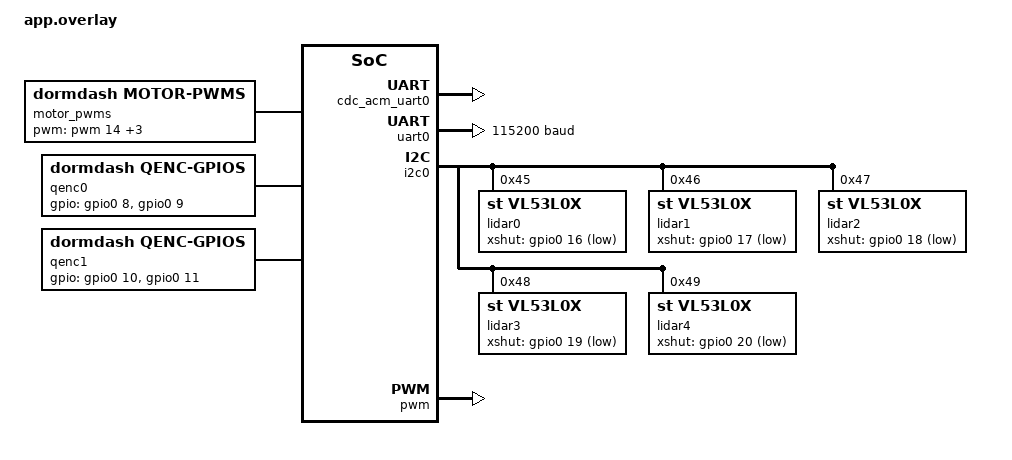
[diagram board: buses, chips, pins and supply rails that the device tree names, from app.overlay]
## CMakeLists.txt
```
# SPDX-License-Identifier: Apache-2.0

cmake_minimum_required(VERSION 3.20.0)

set(BOARD rpi_pico)

find_package(Zephyr REQUIRED HINTS $ENV{ZEPHYR_BASE})
project(dorm_dash_robot)

target_sources(app PRIVATE
	src/main.c
	src/leds.c
	src/distance_sensor.c
	src/pwm_motor.c
	src/quadrature_decoder.c
	src/motor_control.c
	src/pid.c
	src/uart_echo.c
	src/tests.c
)
```

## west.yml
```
manifest:
  
  remotes:
    - name: zephyrproject-rtos
      url-base: https://github.com/zephyrproject-rtos
  
  projects:
    - name: zephyr
      remote: zephyrproject-rtos
      import: true
      revision: v4.2.0
    - name: zenoh-pico
      url: https://github.com/eclipse-zenoh/zenoh-pico.git
      revision: 1.6.1
      path: modules/lib/zenoh-pico
```

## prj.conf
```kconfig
CONFIG_GPIO=y

CONFIG_SERIAL=y
CONFIG_CONSOLE=y
CONFIG_UART_CONSOLE=y
CONFIG_STDOUT_CONSOLE=y
CONFIG_UART_LINE_CTRL=y

CONFIG_USB_DEVICE_STACK_NEXT=y
CONFIG_CDC_ACM_SERIAL_INITIALIZE_AT_BOOT=y
CONFIG_CDC_ACM_SERIAL_PID=0x0054
CONFIG_CDC_ACM_SERIAL_PRODUCT_STRING="RPI_PICO"

CONFIG_LOG=y
#CONFIG_LOG_PRINTK=y # Necessary to print floats
CONFIG_LOG_BACKEND_SHOW_COLOR=y
CONFIG_LOG_MODE_DEFERRED=y

CONFIG_USBD_CDC_ACM_LOG_LEVEL_OFF=y

CONFIG_LOG_PROCESS_TRIGGER_THRESHOLD=1                                                                                              
CONFIG_LOG_PROCESS_THREAD_STACK_SIZE=2048
CONFIG_LOG_BUFFER_SIZE=2048
CONFIG_LOG_SPEED=y

# CONFIG_MAIN_STACK_SIZE=2048
# CONFIG_INIT_STACKS=y
# # CONFIG_HW_STACK_PROTECTION=y
# # CONFIG_NANOPB=y
# # CONFIG_ARM_MPU=y
# # CONFIG_HEAP_MEM_POOL_SIZE=2000
# # CONFIG_CPP=y
# # CONFIG_REQUIRES_FULL_LIBCPP=y
# CONFIG_CRC=y
# CONFIG_DEBUG_THREAD_INFO=y
# CONFIG_STD_C23=y
# # CONFIG_DEBUG_OPTIMIZATIONS=y

# CONFIG_THREAD_MONITOR=y
# CONFIG_THREAD_NAME=y

CONFIG_I2C=y
CONFIG_SENSOR=y

CONFIG_VL53L0X_PROXIMITY_THRESHOLD=100
CONFIG_VL53L0X_RECONFIGURE_ADDRESS=y

#CONFIG_SENSOR_LOG_LEVEL_DBG=y

CONFIG_PWM=y

CONFIG_SERIAL=y

CONFIG_UART_INTERRUPT_DRIVEN=y

# CONFIG_UART_ASYNC_API=y
# CONFIG_RING_BUFFER=y

CONFIG_CBPRINTF_FP_SUPPORT=y # Used for logging float

CONFIG_ASSERT=y
```

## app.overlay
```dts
/ {
    chosen {
        zephyr,console = &cdc_acm_uart0;
        zephyr,shell-uart = &cdc_acm_uart0;
    };

    motor_pwms: motor_pwms {
        compatible = "dormdash,motor-pwms";

        max-pulse = <PWM_USEC(50)>;

        pwms = <&pwm 14 PWM_USEC(50) PWM_POLARITY_NORMAL>,
               <&pwm 15 PWM_USEC(50) PWM_POLARITY_NORMAL>,
               <&pwm 12 PWM_USEC(50) PWM_POLARITY_NORMAL>,
               <&pwm 13 PWM_USEC(50) PWM_POLARITY_NORMAL>;

	    pwm-names = "motor0_forward", "motor0_backward", "motor1_forward", "motor1_backward";
    };

    qenc0: qenc0 {
        compatible = "dormdash,qenc-gpios";
        gpios = <&gpio0 8 GPIO_ACTIVE_HIGH>,
                <&gpio0 9 GPIO_ACTIVE_HIGH>;
        status = "okay";
    };

    qenc1: qenc1 {
        compatible = "dormdash,qenc-gpios";
        gpios = <&gpio0 10 GPIO_ACTIVE_HIGH>,
                <&gpio0 11 GPIO_ACTIVE_HIGH>;
        status = "okay";
    };

};

&zephyr_udc0 {
    cdc_acm_uart0: cdc_acm_uart0 {
        compatible = "zephyr,cdc-acm-uart";
    };
};

&uart0 {
    current-speed = <115200>;
    status = "okay";
};


// I2C bus
&i2c0 {
    status = "okay";

    // LIDAR - declarations ---------------------------
    // Notes: Each lidar module has default address 0x29.
    // The x-shut gpio is set to low in order to set the address of each lidar module
    // one at a time to the overlay node's specified address. Then gpio is rises after setting
    // address.

    lidar0: lidar@45 {
        compatible = "st,vl53l0x";
        reg = <0x45>; // I2C Address
        status = "okay";

        xshut-gpios = <&gpio0 16 GPIO_ACTIVE_LOW>;
    };

    lidar1: lidar@46 {
        compatible = "st,vl53l0x";
        reg = <0x46>; // I2C Address
        status = "okay";

        xshut-gpios = <&gpio0 17 GPIO_ACTIVE_LOW>;
    };

    lidar2: lidar@47 {
        compatible = "st,vl53l0x";
        reg = <0x47>; // I2C Address
        status = "okay";

        xshut-gpios = <&gpio0 18 GPIO_ACTIVE_LOW>;
    };

    lidar3: lidar@48 {
        compatible = "st,vl53l0x";
        reg = <0x48>; // I2C Address
        status = "okay";

        xshut-gpios = <&gpio0 19 GPIO_ACTIVE_LOW>;
    };

    lidar4: lidar@49 {
        compatible = "st,vl53l0x";
        reg = <0x49>; // I2C Address
        status = "okay";

        xshut-gpios = <&gpio0 20 GPIO_ACTIVE_LOW>;
    };

};

// PWM
// Params: zephyr/dts/bindings/pwm/raspberrypi,pico-pwm.yaml
&pwm {
    status = "okay";
};

// RPI pico pinctrl bindings: zephyr/include/zephyr/dt-bindings/pinctrl/rpi-pico-pinctrl-common.h
&pwm_ch4b_default {
    group1 {
        // For some reason cannot access PMW on gpio greater than 15.
        // 8, slices, 16 channels???
        pinmux = <PWM_6A_P12>, <PWM_6B_P13>, <PWM_7A_P14>, <PWM_7B_P15>;
    };

};
```

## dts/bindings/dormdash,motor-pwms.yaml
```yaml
# Copyright (c) 2024
# SPDX-License-Identifier: Apache-2.0

description: DormDash multi-channel servo motor PWM configuration

compatible: "dormdash,motor-pwms"

include: base.yaml

properties:
  pwms:
    type: phandle-array
    required: true
    description: PWM specifiers driving each motor output.

  pwm-names:
    type: string-array
    required: true
    description: Human-readable names that match each entry in pwms.

  max-pulse:
    type: int
    required: true
    description: Maximum pulse width (nanoseconds) allowed for the motors.
```

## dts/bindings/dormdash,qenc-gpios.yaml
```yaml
# Copyright (c) 2024
# SPDX-License-Identifier: Apache-2.0

description: DormDash Quadrature Encoder Configuration

compatible: "dormdash,qenc-gpios"

include: base.yaml

properties:
  gpios:
    type: phandle-array
    required: true
    description: GPIO specifier for encoder A and B channels.
```

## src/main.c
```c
#include <stdio.h>
#include <zephyr/kernel.h>
#include <zephyr/drivers/gpio.h>
#include <zephyr/logging/log.h>

#include "leds.h"
#include "distance_sensor.h"
#include "pwm_motor.h"
#include "quadrature_decoder.h"
#include "motor_control.h"
#include "tests.h"

#include "uart_echo.h"

LOG_MODULE_REGISTER(main);

#define TESTS_ENABLED true

int main(void)
{
	if (LEDS_Init() == -1) {
		LOG_ERR("Unable to initialize LEDS!");
	}

    if (TESTS_ENABLED) {
        Tests_Start();
    }

	//LIDAR_Start();

	// if (LIDAR_Start() == -1) {
	// 	LOG_ERR("Unable to initialize LiDAR sensors!");
	// }

	//PWM_Start();
	//QuadratureDecoder_Start();
	//MotorControl_Start();

	//UART_Start();

	while (true) {
		k_sleep(K_SECONDS(2));
	}
}
```

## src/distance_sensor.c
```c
/*
 * Copyright (c) 2017 STMicroelectronics
 *
 * SPDX-License-Identifier: Apache-2.0
 */

#include <zephyr/kernel.h>
#include <zephyr/device.h>
#include <zephyr/drivers/sensor.h>
#include <zephyr/drivers/sensor/vl53l0x.h>
#include <zephyr/logging/log.h>

#define THREAD_PRIO 10
#define THREAD_STACK_SIZE 8192
static K_THREAD_STACK_DEFINE(stack_area, THREAD_STACK_SIZE);
static struct k_thread thread_data;

LOG_MODULE_REGISTER(distance_sensor);

#define LIDAR_NODE_0 DT_NODELABEL(lidar0)
#define LIDAR_NODE_1 DT_NODELABEL(lidar1)
#define LIDAR_NODE_2 DT_NODELABEL(lidar2)
#define LIDAR_NODE_3 DT_NODELABEL(lidar3)
//#define LIDAR_NODE_4 DT_NODELABEL(lidar4)

#define LIDAR_DEVICE_COUNT 4

const struct device *const devices[LIDAR_DEVICE_COUNT] = {
	DEVICE_DT_GET(LIDAR_NODE_0),
	DEVICE_DT_GET(LIDAR_NODE_1),
	DEVICE_DT_GET(LIDAR_NODE_2),
	DEVICE_DT_GET(LIDAR_NODE_3),
	//DEVICE_DT_GET(LIDAR_NODE_4),
};

static bool check_all_devices_ready() {
	bool all_devices_ready = true;

	for (int i = 0; i < LIDAR_DEVICE_COUNT; i++) {
		if (!device_is_ready(devices[i])) {
			all_devices_ready = false;
			LOG_ERR("Device: %s is not ready!", devices[i]->name);
		}
	}

	return all_devices_ready;
}

static void fetch_all_device_samples() {
	for (int i = 0; i < LIDAR_DEVICE_COUNT; i++) {

		int ret = sensor_sample_fetch_chan(devices[i], SENSOR_CHAN_DISTANCE);
		if (ret) {
			LOG_ERR("%s: failed to fetch sensor data, ret %d\n", devices[i]->name, ret);
		}
	}
}

static void lidar_thread_entry(void* a, void* b, void* c)
{
	ARG_UNUSED(a);
    ARG_UNUSED(b);
    ARG_UNUSED(c);

    //int ret;
    struct sensor_value value;

	while (true) {

		fetch_all_device_samples();

		for (int i = 0; i < LIDAR_DEVICE_COUNT; i++) {

			int ret = sensor_channel_get(devices[i], SENSOR_CHAN_DISTANCE, &value);
			if (ret < 0) {
				LOG_ERR("%s, Could not GET sensor data! Ret: %d\n", devices[i]->name, ret);
			} else {
				LOG_INF("%s distance: %.3lld mm", devices[i]->name, sensor_value_to_milli(&value));
			}
		}

		// ret = sensor_channel_get(dev, SENSOR_CHAN_VL53L0X_RANGE_DMAX, &value);
		// LOG_INF("Max distance is %.3lld mm\n", sensor_value_to_milli(&value));

		// ret = sensor_channel_get(dev, SENSOR_CHAN_VL53L0X_SIGNAL_RATE_RTN_CPS, &value);
		// LOG_INF("Signal rate is %d Cps\n", value.val1);

		// ret = sensor_channel_get(dev, SENSOR_CHAN_VL53L0X_AMBIENT_RATE_RTN_CPS, &value);
		// LOG_INF("Ambient rate is %d Cps\n", value.val1);

		// ret = sensor_channel_get(dev, SENSOR_CHAN_VL53L0X_EFFECTIVE_SPAD_RTN_COUNT, &value);
		// LOG_INF("SPADs used: %d\n", value.val1);

		// ret = sensor_channel_get(dev, SENSOR_CHAN_VL53L0X_RANGE_STATUS, &value);
		// if (value.val1 == VL53L0X_RANGE_STATUS_RANGE_VALID) {
		// 	LOG_INF("Status: OK\n");
		// } else {
		// 	LOG_INF("Status: Error code %d\n", value.val1);
		// }

		// LOG_INF("\n");
		k_sleep(K_MSEC(100));
	}
	return;
}

int LIDAR_Start(void)
{
	if (!check_all_devices_ready()) {
		LOG_ERR("Not all LiDAR devices ready!");
		return -1;
	}

    k_thread_create(&thread_data, stack_area, K_THREAD_STACK_SIZEOF(stack_area), lidar_thread_entry, NULL,
                    NULL, NULL, THREAD_PRIO, 0, K_NO_WAIT);

    return 0;
}
```

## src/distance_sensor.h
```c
#pragma once

int LIDAR_Start(void);
```

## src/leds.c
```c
#include "leds.h"

#define THREAD_PRIO 10
#define THREAD_STACK_SIZE 512
static K_THREAD_STACK_DEFINE(stack_area, THREAD_STACK_SIZE);
static struct k_thread thread_data;

#define SLEEP_TIME_MS 2000
#define LED0_NODE DT_ALIAS(led0)

LOG_MODULE_REGISTER(leds);

static const struct gpio_dt_spec led = GPIO_DT_SPEC_GET(LED0_NODE, gpios);


static void leds_thread_entry(void *a, void *b, void *c)
{
    ARG_UNUSED(a);
    ARG_UNUSED(b);
    ARG_UNUSED(c);

    bool led_state = true;

    while (true) {

        if (gpio_pin_toggle_dt(&led) < 0) {
            LOG_ERR("Could not toggle LED GPIO!");
            return;
        }

        led_state = !led_state;
        k_msleep(SLEEP_TIME_MS);
    }
}

int LEDS_Init()
{

    if (!gpio_is_ready_dt(&led)) {
        LOG_ERR("LED GPIO not ready!");
        return -1;
    }

    if (gpio_pin_configure_dt(&led, GPIO_OUTPUT_ACTIVE) < 0) {
        LOG_ERR("Could not set LED GPIO to HIGH");
        return -1;
    }

    k_thread_create(&thread_data, stack_area, K_THREAD_STACK_SIZEOF(stack_area), leds_thread_entry, NULL,
                    NULL, NULL, THREAD_PRIO, 0, K_NO_WAIT);

    return 0;
}
```

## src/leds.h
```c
#pragma once

#include <stdio.h>
#include <zephyr/kernel.h>
#include <zephyr/drivers/gpio.h>
#include <zephyr/logging/log.h>

int LEDS_Init();
```

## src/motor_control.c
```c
#include "pid.h"
#include "pwm_motor.h"
#include "quadrature_decoder.h"
#include "motor_control.h"
#include <zephyr/kernel.h>

LOG_MODULE_REGISTER(motor_control);

#define THREAD_PRIO 10
#define THREAD_STACK_SIZE 8192
static K_THREAD_STACK_DEFINE(stack_area, THREAD_STACK_SIZE);
static struct k_thread thread_data;

K_MUTEX_DEFINE(motor_velocity_set_mutex);

#define UPDATE_RATE_HZ 100.0f
#define PID_LOOP_DELAY_MS ((1.0f / UPDATE_RATE_HZ) * 1000.0f)

/* Controller parameters */
#define PID_KP  0.005f
#define PID_KI  0.01f
#define PID_KD  0.0f

#define PID_TAU 0.9f

#define PID_LIM_MIN -1.0f
#define PID_LIM_MAX  1.0f

#define PID_LIM_MIN_INT -1.0f
#define PID_LIM_MAX_INT  1.0f

// -----------------------------


#define MOTOR_CONTROLLER_COUNT 2

static PIDController left_motor_pid = {
    .Kp = PID_KP,
    .Ki = PID_KI,
    .Kd = PID_KD,

    .tau = PID_TAU,

    .limMin = PID_LIM_MIN,
    .limMax = PID_LIM_MAX,

    .limMinInt = PID_LIM_MIN_INT,
    .limMaxInt = PID_LIM_MAX_INT
};

static PIDController right_motor_pid = {
    .Kp = PID_KP,
    .Ki = PID_KI,
    .Kd = PID_KD,

    .tau = PID_TAU,

    .limMin = PID_LIM_MIN,
    .limMax = PID_LIM_MAX,

    .limMinInt = PID_LIM_MIN_INT,
    .limMaxInt = PID_LIM_MAX_INT
};

struct motor_controller
{
    enum MotorType motor_type;
    enum QuadEncoderType encoder_type;
	float target_velocity_steps;
	float current_velocity_steps;
};

struct motor_controller controllers[MOTOR_CONTROLLER_COUNT] = {
    {
        .motor_type = MOTOR_TYPE_LEFT,
        .encoder_type = Q_ENCODER_LEFT_MOTOR
    },
    {
        .motor_type = MOTOR_TYPE_RIGHT,
        .encoder_type = Q_ENCODER_RIGHT_MOTOR
    },
};

void init_pid_controllers() {
    PIDController_Init(&left_motor_pid);
    PIDController_Init(&right_motor_pid);
}

void MotorControl_SetVelocity(enum MotorControllerType type, float velocity_step_per_sec)
{
	k_mutex_lock(&motor_velocity_set_mutex, K_FOREVER);
	{
		controllers[type].target_velocity_steps = velocity_step_per_sec;
	}
	k_mutex_unlock(&motor_velocity_set_mutex);
}

static void motor_control_thread_entry(void* a, void* b, void* c)
{
	ARG_UNUSED(a);
    ARG_UNUSED(b);
    ARG_UNUSED(c);

	float target_left_speed_local = 0;
    float target_right_speed_local = 0;
	float current_left_speed = 0;
	float current_right_speed = 0;

	long last_pos_left = 0;
	long last_pos_right = 0;
	long current_pos_left = 0;
	long current_pos_right = 0;

    uint32_t current_time = 0;
    uint32_t last_time = 0;
    float delta_time = 0;

    last_time = sys_clock_cycle_get_32();

    while (true) {

        current_time = sys_clock_cycle_get_32();
        const uint64_t cycles_diff = current_time - last_time;
        delta_time = (float)k_cyc_to_ns_ceil32(cycles_diff) / NSEC_PER_SEC;
        last_time = current_time;

		k_mutex_lock(&motor_velocity_set_mutex, K_FOREVER);
		{
			target_left_speed_local = controllers[CONTROLLER_LEFT].target_velocity_steps;
			target_right_speed_local = controllers[CONTROLLER_RIGHT].target_velocity_steps;
		}
		k_mutex_unlock(&motor_velocity_set_mutex);

		current_pos_left = QuadratureEncoder_GetPos(controllers[CONTROLLER_LEFT].encoder_type);
		current_pos_right = QuadratureEncoder_GetPos(controllers[CONTROLLER_RIGHT].encoder_type);

		current_left_speed = (current_pos_left - last_pos_left) / delta_time;
		current_right_speed = (current_pos_right - last_pos_right) / delta_time;

		last_pos_left = current_pos_left;
		last_pos_right = current_pos_right;

		//LOG_INF("Left pos %f | Right pos %f", (double)current_pos_left, (double)current_pos_right);
		//LOG_INF("Left speed %f | Right speed %f", (double)current_left_speed, (double)current_right_speed);

        float left_pid_out = PIDController_Update(&left_motor_pid, target_left_speed_local, current_left_speed, delta_time);
        float right_pid_out = PIDController_Update(&right_motor_pid, target_right_speed_local, current_right_speed, delta_time);

		PwmMotor_SetDutyCycle(MOTOR_TYPE_LEFT, left_pid_out * 100.0f);
		PwmMotor_SetDutyCycle(MOTOR_TYPE_RIGHT, right_pid_out * 100.0f);

 		LOG_INF("target right speed: %f", (double)target_right_speed_local);
		LOG_INF("current right speed: %f", (double)current_right_speed);

        k_msleep(PID_LOOP_DELAY_MS - delta_time);
    }

}

int MotorControl_Start()
{
    init_pid_controllers();

    k_thread_create(&thread_data, stack_area, K_THREAD_STACK_SIZEOF(stack_area), motor_control_thread_entry, NULL,
                    NULL, NULL, THREAD_PRIO, 0, K_NO_WAIT);

    return 0;
}
```

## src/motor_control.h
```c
#pragma once

enum MotorControllerType
{
    CONTROLLER_LEFT = 0,
    CONTROLLER_RIGHT = 1
};


int MotorControl_Start();
void MotorControl_SetVelocity(enum MotorControllerType type, float velocity_step_per_sec);
```

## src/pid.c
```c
// FROM: https://github.com/pms67/PID

#include "pid.h"

void PIDController_Init(PIDController *pid) {

	/* Clear controller variables */
	pid->integrator = 0.0f;
	pid->prevError  = 0.0f;

	pid->differentiator  = 0.0f;
	pid->prevMeasurement = 0.0f;

	pid->out = 0.0f;

}

float PIDController_Update(PIDController *pid, float setpoint, float measurement, float delta_time) {

	/*
	* Error signal
	*/
    float error = setpoint - measurement;


	/*
	* Proportional
	*/
    float proportional = pid->Kp * error;


	/*
	* Integral
	*/
    pid->integrator = pid->integrator + 0.5f * pid->Ki * delta_time * (error + pid->prevError);

	/* Anti-wind-up via integrator clamping */
    if (pid->integrator > pid->limMaxInt) {

        pid->integrator = pid->limMaxInt;

    } else if (pid->integrator < pid->limMinInt) {

        pid->integrator = pid->limMinInt;

    }


	/*
	* Derivative (band-limited differentiator)
	*/
		
    pid->differentiator = -(2.0f * pid->Kd * (measurement - pid->prevMeasurement)	/* Note: derivative on measurement, therefore minus sign in front of equation! */
                        + (2.0f * pid->tau - delta_time) * pid->differentiator)
                        / (2.0f * pid->tau + delta_time);


	/*
	* Compute output and apply limits
	*/
    pid->out = proportional + pid->integrator + pid->differentiator;

    if (pid->out > pid->limMax) {

        pid->out = pid->limMax;

    } else if (pid->out < pid->limMin) {

        pid->out = pid->limMin;

    }

	/* Store error and measurement for later use */
    pid->prevError       = error;
    pid->prevMeasurement = measurement;

	/* Return controller output */
    return pid->out;

}
```

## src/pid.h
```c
// FROM: https://github.com/pms67/PID

#ifndef PID_CONTROLLER_H
#define PID_CONTROLLER_H

typedef struct {

	/* Controller gains */
	float Kp;
	float Ki;
	float Kd;

	/* Derivative low-pass filter time constant */
	float tau;

	/* Output limits */
	float limMin;
	float limMax;
	
	/* Integrator limits */
	float limMinInt;
	float limMaxInt;

	/* Controller "memory" */
	float integrator;
	float prevError;			/* Required for integrator */
	float differentiator;
	float prevMeasurement;		/* Required for differentiator */

	/* Controller output */
	float out;

} PIDController;

void  PIDController_Init(PIDController *pid);
float PIDController_Update(PIDController *pid, float setpoint, float measurement, float delta_time);

#endif
```

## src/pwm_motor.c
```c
#include "pwm_motor.h"

#include <stdlib.h>
#include <math.h>


LOG_MODULE_REGISTER(pwm_motor);

#define PWM_NODE DT_NODELABEL(motor_pwms)
#define MAX_PULSE_NSEC DT_PROP(PWM_NODE, max_pulse)

#define MOTOR_COUNT 2

struct pwm_motor
{
	const struct pwm_dt_spec motor_forward_spec;
	const struct pwm_dt_spec motor_backward_spec;
	const long max_pulse_nsec;

	int current_duty_cycle;
	int current_direction;

	char* name;
};

struct pwm_motor motors[MOTOR_COUNT] = {
	{
		.name = "motor_left",
		.motor_forward_spec = PWM_DT_SPEC_GET_BY_NAME(PWM_NODE, motor0_forward),
		.motor_backward_spec = PWM_DT_SPEC_GET_BY_NAME(PWM_NODE, motor0_backward),
		.max_pulse_nsec = MAX_PULSE_NSEC
	},
	{
		.name = "motor_right",
		.motor_forward_spec = PWM_DT_SPEC_GET_BY_NAME(PWM_NODE, motor1_forward),
		.motor_backward_spec = PWM_DT_SPEC_GET_BY_NAME(PWM_NODE, motor1_backward),
		.max_pulse_nsec = MAX_PULSE_NSEC
	},
};

static bool check_pwm_devices_ready() {

	for (int i = 0; i < MOTOR_COUNT; i++)
	{
		if (!pwm_is_ready_dt(&motors[i].motor_forward_spec)
			|| !pwm_is_ready_dt(&motors[i].motor_backward_spec))
		{
			LOG_ERR("PWM device %s not ready!", motors[i].name);
			return false;
		}
	}

	return true;
}

int PwmMotor_SetDutyCycle(enum MotorType type, float dutyCycle)
{
	int ret;
	int pulse_width_ns = 0;
	struct pwm_motor* motor = &motors[type];

	pulse_width_ns = (int)((fabsf(dutyCycle) / 100.0f) * motor->max_pulse_nsec);

	// TODO - do we need delay between dir switches to prevent short?????
	if (dutyCycle > 0)
	{
		ret = pwm_set_pulse_dt(&motor->motor_backward_spec, 0);
		if (ret < 0) {
			LOG_ERR("Error %d: failed to set pulse width\n", ret);
			return -1;
		}

		k_sleep(K_MSEC(1));

		ret = pwm_set_pulse_dt(&motor->motor_forward_spec, pulse_width_ns);
		if (ret < 0) {
			LOG_ERR("Error %d: failed to set pulse width\n", ret);
			return -1;
		}

		motor->current_direction = 1;
	}
	else if (dutyCycle < 0)
	{
		ret = pwm_set_pulse_dt(&motor->motor_forward_spec, 0);
		if (ret < 0) {
			LOG_ERR("Error %d: failed to set pulse width\n", ret);
			return -1;
		}

		k_sleep(K_MSEC(1));

		ret = pwm_set_pulse_dt(&motor->motor_backward_spec, pulse_width_ns);
		if (ret < 0) {
			LOG_ERR("Error %d: failed to set pulse width\n", ret);
			return -1;
		}

		motor->current_direction = -1;
	}
	else
	{
		ret = pwm_set_pulse_dt(&motor->motor_forward_spec, 0);
		if (ret < 0) {
			LOG_ERR("Error %d: failed to set pulse width\n", ret);
			return -1;
		}

		ret = pwm_set_pulse_dt(&motor->motor_backward_spec, 0);
		if (ret < 0) {
			LOG_ERR("Error %d: failed to set pulse width\n", ret);
			return -1;
		}

		motor->current_direction = 0;
	}

	return 0;
}

int PWM_Start(void)
{
	if (check_pwm_devices_ready() == false) {
		LOG_ERR("One or more PWM devices not ready!\n");
		return -1;
	}

	//pwm_set_pulse_dt(&motors[MOTOR_TYPE_LEFT].motor_backward_spec, 25000);
	//pwm_set_pulse_dt(&motors[MOTOR_TYPE_LEFT].motor_forward_spec, 25000);
	//pwm_set_pulse_dt(&motors[MOTOR_TYPE_RIGHT].motor_backward_spec, 25000);
	//pwm_set_pulse_dt(&motors[MOTOR_TYPE_RIGHT].motor_forward_spec, 25000);

	return 0;
}
```

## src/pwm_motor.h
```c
#pragma once

#include <zephyr/kernel.h>
#include <zephyr/sys/printk.h>
#include <zephyr/device.h>
#include <zephyr/drivers/pwm.h>
#include <zephyr/logging/log.h>

enum MotorType
{
    MOTOR_TYPE_LEFT = 0,
    MOTOR_TYPE_RIGHT = 1
};

int PWM_Start(void);
int PwmMotor_SetDutyCycle(enum MotorType type, float dutyCycle);
```

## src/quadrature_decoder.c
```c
#include <zephyr/kernel.h>
#include <zephyr/device.h>
#include <zephyr/drivers/gpio.h>
#include <zephyr/logging/log.h>
#include "quadrature_decoder.h"
#include <zephyr/sys/hash_map.h>


LOG_MODULE_REGISTER(quadrature_decoder);

#define ENC_NODE_0 DT_NODELABEL(qenc0)
#define ENC_NODE_1 DT_NODELABEL(qenc1)

struct quadrature_encoder {
    const struct gpio_dt_spec chan_a;
    const struct gpio_dt_spec chan_b;
    struct gpio_callback chan_a_callback_data;
    struct gpio_callback chan_b_callback_data;
    gpio_callback_handler_t interrupt_callback;

    int direction;
    atomic_t position;
    char* name;
};

#define QUADRATURE_ENC_COUNT 2

void qenc0_callback(const struct device *dev, struct gpio_callback *cb, uint32_t pins);
void qenc1_callback(const struct device *dev, struct gpio_callback *cb, uint32_t pins);


struct quadrature_encoder quad_encoders[QUADRATURE_ENC_COUNT] = {
    {
        .name = "enc0",
		.chan_a = GPIO_DT_SPEC_GET_BY_IDX(ENC_NODE_0, gpios, 0),
        .chan_b = GPIO_DT_SPEC_GET_BY_IDX(ENC_NODE_0, gpios, 1),
        .interrupt_callback = qenc0_callback,

        .direction = 0,
        .position = ATOMIC_INIT(0),
	},

    {
        .name = "enc1",
        .chan_a = GPIO_DT_SPEC_GET_BY_IDX(ENC_NODE_1, gpios, 0),
        .chan_b = GPIO_DT_SPEC_GET_BY_IDX(ENC_NODE_1, gpios, 1),
        .interrupt_callback = qenc1_callback,

        .direction = 0,
        .position = ATOMIC_INIT(0)
    },

};

long QuadratureEncoder_GetPos(enum QuadEncoderType type)
{
    return atomic_get(&quad_encoders[type].position);
}

void qenc_update_position(struct quadrature_encoder* qenc);

void qenc0_callback(const struct device *dev, struct gpio_callback *cb, uint32_t pins)
{
    qenc_update_position(&quad_encoders[Q_ENCODER_LEFT_MOTOR]);
}

void qenc1_callback(const struct device *dev, struct gpio_callback *cb, uint32_t pins)
{
    qenc_update_position(&quad_encoders[Q_ENCODER_RIGHT_MOTOR]);
}

void qenc_update_position(struct quadrature_encoder* qenc)
{
    int chan_a = gpio_pin_get_dt(&qenc->chan_a);
    int chan_b = gpio_pin_get_dt(&qenc->chan_b);

    if (chan_a == 1 && chan_b == 0)
    {
        qenc->direction = 1;
    }
    else if (chan_a == 0 && chan_b == 1)
    {
        qenc->direction = -1;
    }
    else
    {
        // Unknown state
        return;
    }

    // Increment in current direction
    atomic_val_t val = atomic_get(&qenc->position);
    atomic_set(&qenc->position, val + qenc->direction);
}

bool check_all_devices_ready(void)
{
    bool all_devices_ready = true;

    for (int i = 0; i < QUADRATURE_ENC_COUNT; i++)
    {
        if (!gpio_is_ready_dt(&quad_encoders[i].chan_a) || !gpio_is_ready_dt(&quad_encoders[i].chan_a))
        {
            all_devices_ready = false;
            LOG_ERR("%s gpio channel A or B is not ready!", quad_encoders[i].name);
        }
    }

    return all_devices_ready;
}

int configure_all_gpios()
{
    int ret = 0;

    for (int i = 0; i < QUADRATURE_ENC_COUNT; i++)
    {
        if (gpio_pin_configure_dt(&quad_encoders[i].chan_a, GPIO_INPUT) < 0
            || gpio_pin_configure_dt(&quad_encoders[i].chan_b, GPIO_INPUT) < 0)
        {
            LOG_ERR("Unable to configure GPIO for %s!", quad_encoders[i].name);
            ret = -1;
        }
    }

    return ret;
}

int configure_all_gpio_interrupts()
{
    for (int i = 0; i < QUADRATURE_ENC_COUNT; i++)
    {
        if (gpio_pin_interrupt_configure_dt(&quad_encoders[i].chan_a, GPIO_INT_EDGE_TO_ACTIVE) < 0
            || gpio_pin_interrupt_configure_dt(&quad_encoders[i].chan_b, GPIO_INT_EDGE_TO_ACTIVE) < 0)
        {
            LOG_ERR("Unable to configure gpio for interrupt: %s", quad_encoders[i].name);
            return -1;
        }

        gpio_init_callback(&quad_encoders[i].chan_a_callback_data, quad_encoders[i].interrupt_callback, BIT(quad_encoders[i].chan_a.pin));
        gpio_init_callback(&quad_encoders[i].chan_b_callback_data, quad_encoders[i].interrupt_callback, BIT(quad_encoders[i].chan_b.pin));

        if (gpio_add_callback(quad_encoders[i].chan_a.port, &quad_encoders[i].chan_a_callback_data) < 0
            || gpio_add_callback(quad_encoders[i].chan_b.port, &quad_encoders[i].chan_b_callback_data) < 0)
        {
            LOG_ERR("Unable to add interrupt callbacks for quad encoder: %s", quad_encoders[i].name);
            return -1;
        }
    }


    return 0;
}

int QuadratureDecoder_Start(void)
{
    if (!check_all_devices_ready())
    {
        LOG_ERR("Not all quadrature encoder GPIO ready!");
        return -1;
    }

    if (configure_all_gpios() < 0)
    {
        LOG_ERR("Unable to configure qenc GPIOS.");
        return -1;
    }

    if (configure_all_gpio_interrupts() < 0)
    {
        LOG_ERR("Unable to configure all qenc interrupts or callbacks");
        return -1;
    }

	return 0;

    //while (true)
    //{
    //    long left_pos = QuadratureEncoder_GetPos(Q_ENCODER_LEFT_MOTOR);
    //    long right_pos = QuadratureEncoder_GetPos(Q_ENCODER_RIGHT_MOTOR);

		//LOG_INF("callback0: %p", &quad_encoders[0].interrupt_callback);
		//LOG_INF("callback1: %p", &quad_encoders[1].interrupt_callback);

   //     LOG_INF("left_motor__: %ld | right_motor: %ld", left_pos, right_pos);
    //    k_sleep(K_MSEC(10));
    //}

    //return 0;
}
```

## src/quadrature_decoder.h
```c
#pragma once

enum QuadEncoderType
{
    Q_ENCODER_LEFT_MOTOR = 0,
    Q_ENCODER_RIGHT_MOTOR = 1
};

int QuadratureDecoder_Start(void);
long QuadratureEncoder_GetPos(enum QuadEncoderType type);
```
